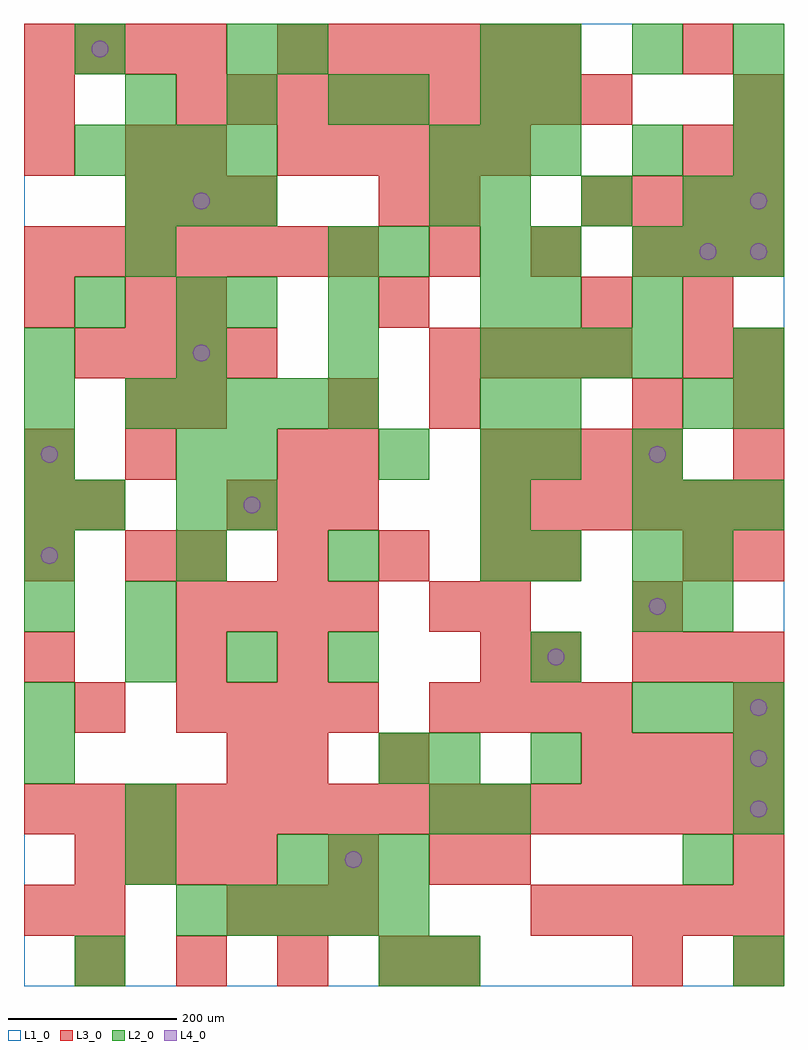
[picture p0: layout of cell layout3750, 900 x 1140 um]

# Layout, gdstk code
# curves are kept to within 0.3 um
import gdstk
lib = gdstk.Library(unit=1e-6, precision=1e-09)
def R(c, l, rs):  # rectangles x0, y0, x1, y1
    for r in rs: c.add(gdstk.rectangle(r[:2], r[2:], *l))
def A(c, l, x, y, w, h, nx, ny, dx, dy):  # array of equal rectangles
    R(c, l, [(x+i*dx, y+j*dy, x+i*dx+w, y+j*dy+h) for i in range(nx) for j in range(ny)])
def P(c, l, *ps):  # polygons
    for p in ps: c.add(gdstk.Polygon(p, *l))
L1_0 = (1, 0)
L2_0 = (2, 0)
L3_0 = (3, 0)
L4_0 = (4, 0)

layout3750 = lib.new_cell('layout3750')
R(layout3750, L1_0, [(0,0,900,1140)])
A(layout3750, L2_0, 180, 60, 60, 60, 5, 1, 60, 0)
A(layout3750, L2_0, 300, 120, 60, 60, 3, 1, 60, 0)
A(layout3750, L2_0, 600, 240, 60, 60, 1, 4, 0, 120)
A(layout3750, L2_0, 0, 300, 60, 60, 1, 3, 0, 120)
A(layout3750, L2_0, 720, 300, 60, 60, 3, 2, 60, 240)
A(layout3750, L2_0, 120, 360, 60, 60, 3, 2, 120, 660)
A(layout3750, L2_0, 0, 480, 60, 60, 4, 2, 180, 240)
A(layout3750, L2_0, 540, 540, 60, 60, 1, 3, 0, 60)
A(layout3750, L2_0, 720, 600, 60, 60, 1, 3, 0, 180)
A(layout3750, L2_0, 120, 660, 60, 60, 5, 1, 60, 0)
A(layout3750, L2_0, 600, 720, 60, 60, 3, 1, 60, 0)
A(layout3750, L2_0, 720, 840, 60, 60, 3, 1, 60, 0)
A(layout3750, L2_0, 120, 900, 60, 60, 3, 1, 60, 0)
A(layout3750, L2_0, 540, 900, 60, 60, 3, 1, 120, 0)
A(layout3750, L2_0, 840, 900, 60, 60, 1, 3, 0, 60)
A(layout3750, L2_0, 60, 960, 60, 60, 4, 1, 60, 0)
A(layout3750, L2_0, 480, 960, 60, 60, 3, 1, 60, 0)
A(layout3750, L2_0, 600, 1080, 60, 60, 3, 1, 120, 0)
R(layout3750, L2_0, [(60,0,120,60), (420,0,480,60), (480,0,540,60), (840,0,900,60), (120,120,180,180), (780,120,840,180), (120,180,180,240), (480,180,540,240), (540,180,600,240), (840,180,900,240), (0,240,60,300), (420,240,480,300), (480,240,540,300), (840,240,900,300), (120,420,180,480), (720,420,780,480), (780,420,840,480), (720,480,780,540), (780,480,840,540), (60,540,120,600), (180,540,240,600), (240,540,300,600), (0,600,60,660), (180,600,240,660), (240,600,300,660), (420,600,480,660), (0,660,60,720), (600,660,660,720), (780,660,840,720), (840,660,900,720), (840,720,900,780), (60,780,120,840), (180,780,240,840), (240,780,300,840), (360,780,420,840), (540,780,600,840), (600,780,660,840), (120,840,180,900), (360,840,420,900), (420,840,480,900), (540,840,600,900), (600,840,660,900), (480,900,540,960), (420,1020,480,1080), (540,1020,600,1080), (600,1020,660,1080), (60,1080,120,1140), (240,1080,300,1140), (300,1080,360,1140), (540,1080,600,1140)])
A(layout3750, L3_0, 60, 0, 60, 60, 4, 1, 120, 0)
A(layout3750, L3_0, 60, 60, 60, 60, 1, 3, 0, 240)
A(layout3750, L3_0, 240, 60, 60, 60, 3, 2, 60, 480)
A(layout3750, L3_0, 600, 60, 60, 60, 5, 1, 60, 0)
A(layout3750, L3_0, 60, 120, 60, 60, 4, 2, 60, 600)
A(layout3750, L3_0, 840, 120, 60, 60, 1, 3, 0, 180)
A(layout3750, L3_0, 0, 180, 60, 60, 15, 1, 60, 0)
A(layout3750, L3_0, 660, 240, 60, 60, 4, 2, 60, 660)
A(layout3750, L3_0, 180, 300, 60, 60, 4, 2, 60, 120)
A(layout3750, L3_0, 480, 300, 60, 60, 4, 2, 60, 420)
A(layout3750, L3_0, 180, 360, 60, 60, 1, 3, 0, 300)
A(layout3750, L3_0, 720, 360, 60, 60, 3, 1, 60, 0)
A(layout3750, L3_0, 480, 420, 60, 60, 1, 3, 0, 240)
A(layout3750, L3_0, 0, 480, 60, 60, 1, 3, 0, 60)
A(layout3750, L3_0, 180, 480, 60, 60, 4, 1, 120, 0)
A(layout3750, L3_0, 540, 540, 60, 60, 6, 1, 60, 0)
A(layout3750, L3_0, 540, 600, 60, 60, 4, 1, 60, 0)
A(layout3750, L3_0, 840, 600, 60, 60, 1, 3, 0, 60)
A(layout3750, L3_0, 780, 720, 60, 60, 1, 3, 0, 60)
A(layout3750, L3_0, 180, 780, 60, 60, 3, 1, 240, 0)
A(layout3750, L3_0, 0, 840, 60, 60, 7, 1, 60, 0)
A(layout3750, L3_0, 480, 840, 60, 60, 3, 1, 120, 0)
A(layout3750, L3_0, 120, 900, 60, 60, 3, 1, 60, 0)
A(layout3750, L3_0, 300, 960, 60, 60, 5, 1, 60, 0)
A(layout3750, L3_0, 180, 1020, 60, 60, 9, 1, 60, 0)
A(layout3750, L3_0, 0, 1080, 60, 60, 4, 1, 60, 0)
A(layout3750, L3_0, 300, 1080, 60, 60, 6, 1, 60, 0)
R(layout3750, L3_0, [(480,0,540,60), (720,0,780,60), (840,0,900,60), (0,60,60,120), (360,120,420,180), (480,120,540,180), (540,120,600,180), (240,240,300,300), (300,240,360,300), (420,240,480,300), (0,360,60,420), (300,360,360,420), (540,360,600,420), (600,360,660,420), (540,420,600,480), (720,420,780,480), (120,480,180,540), (600,480,660,540), (780,480,840,540), (120,600,180,660), (300,600,360,660), (360,600,420,660), (120,660,180,720), (360,660,420,720), (720,660,780,720), (0,780,60,840), (120,780,180,840), (840,840,900,900), (420,900,480,960), (0,960,60,1020), (120,960,180,1020), (780,960,840,1020), (840,960,900,1020), (0,1020,60,1080), (840,1020,900,1080), (780,1080,840,1140)])
P(layout3750, L4_0, [(40,510),(39.239,513.827),(37.071,517.071),(33.827,519.239),(30,520),(26.173,519.239),(22.929,517.071),(20.761,513.827),(20,510),(20.761,506.173),(22.929,502.929),(26.173,500.761),(30,500),(33.827,500.761),(37.071,502.929),(39.239,506.173)],
  [(40,630),(39.239,633.827),(37.071,637.071),(33.827,639.239),(30,640),(26.173,639.239),(22.929,637.071),(20.761,633.827),(20,630),(20.761,626.173),(22.929,622.929),(26.173,620.761),(30,620),(33.827,620.761),(37.071,622.929),(39.239,626.173)],
  [(100,1110),(99.239,1113.827),(97.071,1117.071),(93.827,1119.239),(90,1120),(86.173,1119.239),(82.929,1117.071),(80.761,1113.827),(80,1110),(80.761,1106.173),(82.929,1102.929),(86.173,1100.761),(90,1100),(93.827,1100.761),(97.071,1102.929),(99.239,1106.173)],
  [(220,750),(219.239,753.827),(217.071,757.071),(213.827,759.239),(210,760),(206.173,759.239),(202.929,757.071),(200.761,753.827),(200,750),(200.761,746.173),(202.929,742.929),(206.173,740.761),(210,740),(213.827,740.761),(217.071,742.929),(219.239,746.173)],
  [(220,930),(219.239,933.827),(217.071,937.071),(213.827,939.239),(210,940),(206.173,939.239),(202.929,937.071),(200.761,933.827),(200,930),(200.761,926.173),(202.929,922.929),(206.173,920.761),(210,920),(213.827,920.761),(217.071,922.929),(219.239,926.173)],
  [(280,570),(279.239,573.827),(277.071,577.071),(273.827,579.239),(270,580),(266.173,579.239),(262.929,577.071),(260.761,573.827),(260,570),(260.761,566.173),(262.929,562.929),(266.173,560.761),(270,560),(273.827,560.761),(277.071,562.929),(279.239,566.173)],
  [(400,150),(399.239,153.827),(397.071,157.071),(393.827,159.239),(390,160),(386.173,159.239),(382.929,157.071),(380.761,153.827),(380,150),(380.761,146.173),(382.929,142.929),(386.173,140.761),(390,140),(393.827,140.761),(397.071,142.929),(399.239,146.173)],
  [(640,390),(639.239,393.827),(637.071,397.071),(633.827,399.239),(630,400),(626.173,399.239),(622.929,397.071),(620.761,393.827),(620,390),(620.761,386.173),(622.929,382.929),(626.173,380.761),(630,380),(633.827,380.761),(637.071,382.929),(639.239,386.173)],
  [(760,450),(759.239,453.827),(757.071,457.071),(753.827,459.239),(750,460),(746.173,459.239),(742.929,457.071),(740.761,453.827),(740,450),(740.761,446.173),(742.929,442.929),(746.173,440.761),(750,440),(753.827,440.761),(757.071,442.929),(759.239,446.173)],
  [(760,630),(759.239,633.827),(757.071,637.071),(753.827,639.239),(750,640),(746.173,639.239),(742.929,637.071),(740.761,633.827),(740,630),(740.761,626.173),(742.929,622.929),(746.173,620.761),(750,620),(753.827,620.761),(757.071,622.929),(759.239,626.173)],
  [(820,870),(819.239,873.827),(817.071,877.071),(813.827,879.239),(810,880),(806.173,879.239),(802.929,877.071),(800.761,873.827),(800,870),(800.761,866.173),(802.929,862.929),(806.173,860.761),(810,860),(813.827,860.761),(817.071,862.929),(819.239,866.173)],
  [(880,210),(879.239,213.827),(877.071,217.071),(873.827,219.239),(870,220),(866.173,219.239),(862.929,217.071),(860.761,213.827),(860,210),(860.761,206.173),(862.929,202.929),(866.173,200.761),(870,200),(873.827,200.761),(877.071,202.929),(879.239,206.173)],
  [(880,270),(879.239,273.827),(877.071,277.071),(873.827,279.239),(870,280),(866.173,279.239),(862.929,277.071),(860.761,273.827),(860,270),(860.761,266.173),(862.929,262.929),(866.173,260.761),(870,260),(873.827,260.761),(877.071,262.929),(879.239,266.173)],
  [(880,330),(879.239,333.827),(877.071,337.071),(873.827,339.239),(870,340),(866.173,339.239),(862.929,337.071),(860.761,333.827),(860,330),(860.761,326.173),(862.929,322.929),(866.173,320.761),(870,320),(873.827,320.761),(877.071,322.929),(879.239,326.173)],
  [(880,870),(879.239,873.827),(877.071,877.071),(873.827,879.239),(870,880),(866.173,879.239),(862.929,877.071),(860.761,873.827),(860,870),(860.761,866.173),(862.929,862.929),(866.173,860.761),(870,860),(873.827,860.761),(877.071,862.929),(879.239,866.173)],
  [(880,930),(879.239,933.827),(877.071,937.071),(873.827,939.239),(870,940),(866.173,939.239),(862.929,937.071),(860.761,933.827),(860,930),(860.761,926.173),(862.929,922.929),(866.173,920.761),(870,920),(873.827,920.761),(877.071,922.929),(879.239,926.173)])

lib.write_gds('layout3750.gds')
